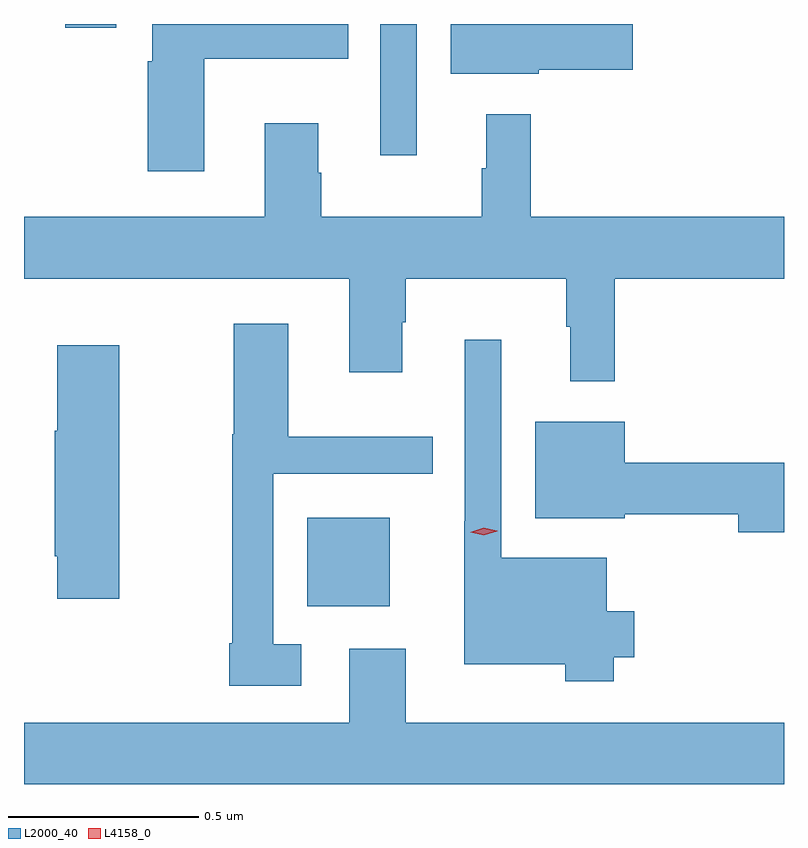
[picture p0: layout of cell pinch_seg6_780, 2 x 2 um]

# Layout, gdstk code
import gdstk
lib = gdstk.Library(unit=1e-6, precision=1e-09)
def R(c, l, rs):  # rectangles x0, y0, x1, y1
    for r in rs: c.add(gdstk.rectangle(r[:2], r[2:], *l))
def P(c, l, *ps):  # polygons
    for p in ps: c.add(gdstk.Polygon(p, *l))
L2000_40 = (2000, 40)
L4158_0 = (4158, 0)

pinch_seg6_780 = lib.new_cell('pinch_seg6_780')
R(pinch_seg6_780, L2000_40, [(505.868,943.811,506.086,944.044), (506.061,944.997,506.157,945.343), (505.232,945.333,505.366,945.343)])
P(pinch_seg6_780, L2000_40, [(506.478,945.223),(506.725,945.223),(506.725,945.343),(506.246,945.343),(506.246,945.212),(506.478,945.212)],
  [(505.597,945.251),(505.976,945.251),(505.976,945.343),(505.461,945.343),(505.461,945.245),(505.448,945.245),(505.448,944.955),(505.597,944.955)],
  [(506.678,944.672),(507.123,944.672),(507.123,944.836),(506.456,944.836),(506.456,945.106),(506.339,945.106),(506.339,944.963),(506.328,944.963),(506.328,944.836),(505.905,944.836),(505.905,944.951),(505.897,944.951),(505.897,945.082),(505.757,945.082),(505.757,944.836),(505.123,944.836),(505.123,944.672),(505.979,944.672),(505.979,944.427),(506.119,944.427),(506.119,944.558),(506.127,944.558),(506.127,944.672),(506.55,944.672),(506.55,944.546),(506.561,944.546),(506.561,944.403),(506.678,944.403)],
  [(505.852,943.711),(505.779,943.711),(505.779,944.16),(506.198,944.16),(506.198,944.257),(505.819,944.257),(505.819,944.554),(505.675,944.554),(505.675,944.263),(505.671,944.263),(505.671,943.714),(505.663,943.714),(505.663,943.602),(505.852,943.602)],
  [(506.675,943.676),(506.729,943.676),(506.729,943.798),(506.656,943.798),(506.656,943.939),(506.379,943.939),(506.379,944.512),(506.283,944.512),(506.283,944.035),(506.282,944.035),(506.282,943.658),(506.547,943.658),(506.547,943.613),(506.675,943.613)],
  [(505.374,944.497),(505.211,944.497),(505.211,944.273),(505.204,944.273),(505.204,943.942),(505.211,943.942),(505.211,943.83),(505.374,943.83)],
  [(507.123,944.189),(506.704,944.189),(506.704,944.296),(506.468,944.296),(506.468,944.042),(506.704,944.042),(506.704,944.053),(507.002,944.053),(507.002,944.006),(507.123,944.006)],
  [(507.123,943.504),(506.128,943.504),(506.128,943.699),(505.979,943.699),(505.979,943.504),(505.123,943.504),(505.123,943.343),(507.123,943.343)])
P(pinch_seg6_780, L4158_0, [(506.333,943.997),(506.297,944.006),(506.297,944.006),(506.297,944.006),(506.333,944.017),(506.369,944.009),(506.369,944.009),(506.369,944.008)])

lib.write_gds('pinch_seg6_780.gds')
